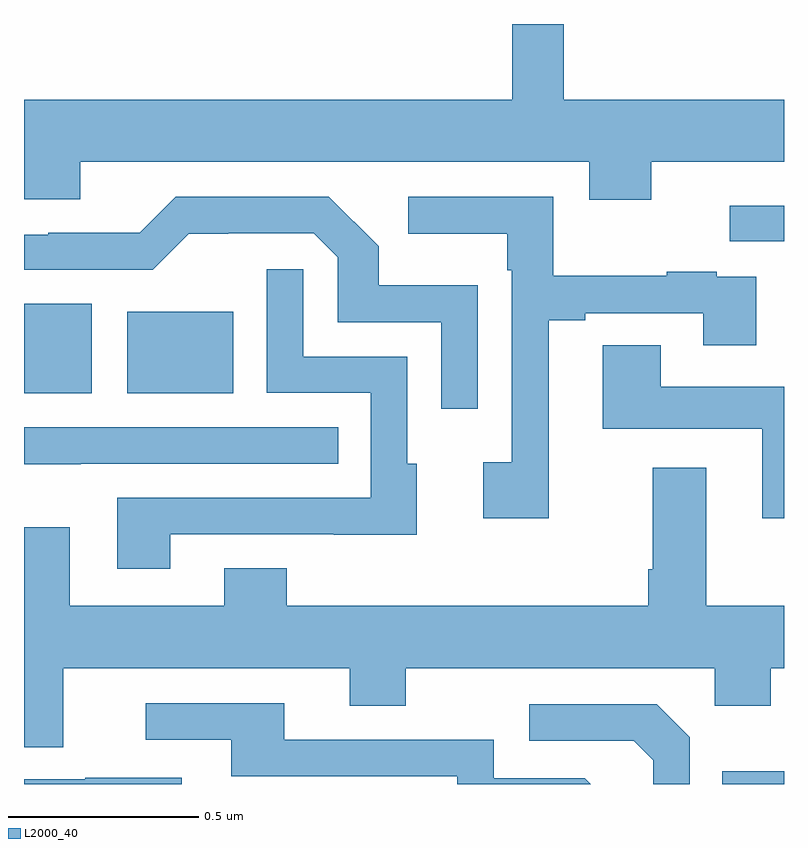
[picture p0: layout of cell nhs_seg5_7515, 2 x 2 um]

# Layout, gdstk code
import gdstk
lib = gdstk.Library(unit=1e-6, precision=1e-09)
def R(c, l, rs):  # rectangles x0, y0, x1, y1
    for r in rs: c.add(gdstk.rectangle(r[:2], r[2:], *l))
def P(c, l, *ps):  # polygons
    for p in ps: c.add(gdstk.Polygon(p, *l))
L2000_40 = (2000, 40)

nhs_seg5_7515 = lib.new_cell('nhs_seg5_7515')
R(nhs_seg5_7515, L2000_40, [(211.837,845.799,212,845.833), (210,846.827,210.178,847.063), (210.272,846.827,210.55,847.042), (211.857,847.227,212,847.321)])
P(nhs_seg5_7515, L2000_40, [(211.651,847.436),(212,847.436),(212,847.6),(211.421,847.6),(211.421,847.799),(211.285,847.799),(211.285,847.6),(210,847.6),(210,847.338),(210.148,847.338),(210.148,847.436),(211.487,847.436),(211.487,847.337),(211.651,847.337)],
  [(211.194,847.111),(210.933,847.111),(210.933,847.214),(210.802,847.344),(210.399,847.344),(210.305,847.25),(210.064,847.25),(210.064,847.245),(210,847.245),(210,847.152),(210.339,847.152),(210.434,847.247),(210.538,847.247),(210.538,847.248),(210.762,847.248),(210.825,847.185),(210.825,847.014),(211.098,847.014),(211.098,846.786),(211.194,846.786)],
  [(211.381,847.02),(211.477,847.02),(211.477,847.038),(211.787,847.038),(211.787,846.954),(211.927,846.954),(211.927,847.134),(211.823,847.134),(211.823,847.147),(211.691,847.147),(211.691,847.136),(211.393,847.136),(211.393,847.344),(211.011,847.344),(211.011,847.247),(211.272,847.247),(211.272,847.151),(211.284,847.151),(211.284,846.646),(211.209,846.646),(211.209,846.498),(211.381,846.498)],
  [(210.385,846.456),(210.815,846.456),(210.815,846.455),(211.033,846.455),(211.033,846.642),(211.008,846.642),(211.008,846.924),(210.735,846.924),(210.735,847.153),(210.639,847.153),(210.639,846.828),(210.912,846.828),(210.912,846.552),(210.245,846.552),(210.245,846.366),(210.385,846.366)],
  [(212,846.844),(211.675,846.844),(211.675,846.953),(211.523,846.953),(211.523,846.734),(211.943,846.734),(211.943,846.498),(212,846.498)],
  [(210.149,846.642),(210.827,846.642),(210.827,846.738),(210,846.738),(210,846.641),(210.149,846.641)],
  [(210.103,846.104),(210.857,846.104),(210.857,846.005),(211.005,846.005),(211.005,846.104),(211.818,846.104),(211.818,846.005),(211.965,846.005),(211.965,846.104),(212,846.104),(212,846.268),(211.795,846.268),(211.795,846.631),(211.655,846.631),(211.655,846.364),(211.643,846.364),(211.643,846.268),(210.691,846.268),(210.691,846.367),(210.527,846.367),(210.527,846.268),(210.121,846.268),(210.121,846.475),(210,846.475),(210,845.896),(210.103,845.896)],
  [(211.476,845.814),(211.236,845.814),(211.236,845.916),(210.685,845.916),(210.685,846.012),(210.321,846.012),(210.321,845.916),(210.545,845.916),(210.545,845.82),(211.14,845.82),(211.14,845.799),(211.491,845.799)],
  [(211.752,845.922),(211.665,846.009),(211.329,846.009),(211.329,845.913),(211.605,845.913),(211.656,845.862),(211.656,845.799),(211.752,845.799)],
  [(210.415,845.815),(210.161,845.815),(210.161,845.811),(210,845.811),(210,845.799),(210.415,845.799)])

lib.write_gds('nhs_seg5_7515.gds')
